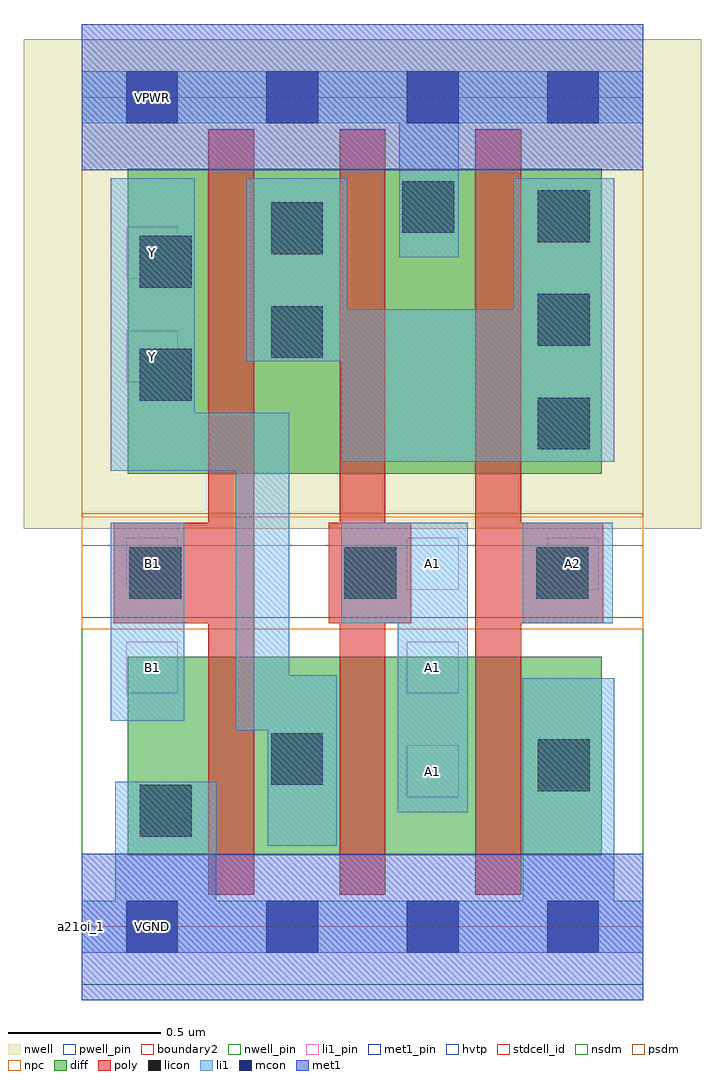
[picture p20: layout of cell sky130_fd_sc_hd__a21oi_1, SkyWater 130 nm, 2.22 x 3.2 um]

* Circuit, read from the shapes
.subckt sky130_fd_sc_hd__a21oi_1 A1 A2 B1 VGND VNB VPB VPWR Y
XM1 Y B1 VGND VNB sky130_fd_pr__nfet_01v8 w=0.65 l=0.15
XM2 n1 A1 Y VNB sky130_fd_pr__nfet_01v8 w=0.65 l=0.15
XM3 VGND A2 n1 VNB sky130_fd_pr__nfet_01v8 w=0.65 l=0.15
XM4 n2 B1 Y VPB sky130_fd_pr__pfet_01v8_hvt w=1 l=0.15
XM5 VPWR A1 n2 VPB sky130_fd_pr__pfet_01v8_hvt w=1 l=0.15
XM6 n2 A2 VPWR VPB sky130_fd_pr__pfet_01v8_hvt w=1 l=0.15
.ends

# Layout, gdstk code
import gdstk
lib = gdstk.Library(unit=1e-6, precision=1e-09)
def R(c, l, rs):  # rectangles x0, y0, x1, y1
    for r in rs: c.add(gdstk.rectangle(r[:2], r[2:], *l))
def A(c, l, x, y, w, h, nx, ny, dx, dy):  # array of equal rectangles
    R(c, l, [(x+i*dx, y+j*dy, x+i*dx+w, y+j*dy+h) for i in range(nx) for j in range(ny)])
def P(c, l, *ps):  # polygons
    for p in ps: c.add(gdstk.Polygon(p, *l))
nwell_pin = (64, 16)
nwell = (64, 20)
diff = (65, 20)
poly = (66, 20)
licon = (66, 44)
li1_pin = (67, 16)
li1 = (67, 20)
mcon = (67, 44)
met1_pin = (68, 16)
met1 = (68, 20)
hvtp = (78, 44)
stdcell_id = (81, 4)
nsdm = (93, 44)
psdm = (94, 20)
npc = (95, 20)
pwell_pin = (122, 16)
boundary2 = (236, 0)

sky130_fd_sc_hd__a21oi_1 = lib.new_cell('sky130_fd_sc_hd__a21oi_1')
R(sky130_fd_sc_hd__a21oi_1, nwell_pin, [(0.145,2.635,0.315,2.805)])
R(sky130_fd_sc_hd__a21oi_1, nwell, [(-0.19,1.305,2.03,2.91)])
R(sky130_fd_sc_hd__a21oi_1, diff, [(0.15,0.235,1.705,0.885), (0.15,1.485,1.705,2.485)])
P(sky130_fd_sc_hd__a21oi_1, poly, [(0.565,2.615),(0.415,2.615),(0.415,1.325),(0.105,1.325),(0.105,0.995),(0.415,0.995),(0.415,0.105),(0.565,0.105)],
  [(1.08,1.325),(0.995,1.325),(0.995,2.615),(0.845,2.615),(0.845,1.325),(0.81,1.325),(0.81,0.995),(0.845,0.995),(0.845,0.105),(0.995,0.105),(0.995,0.995),(1.08,0.995)],
  [(1.71,1.325),(1.44,1.325),(1.44,2.615),(1.29,2.615),(1.29,0.105),(1.44,0.105),(1.44,0.995),(1.71,0.995)])
A(sky130_fd_sc_hd__a21oi_1, licon, 1.495, 1.565, 0.17, 0.17, 1, 3, 0, 0.34)
R(sky130_fd_sc_hd__a21oi_1, licon, [(0.19,0.295,0.36,0.465), (1.495,0.445,1.665,0.615), (0.62,0.465,0.79,0.635), (0.155,1.075,0.325,1.245), (0.86,1.075,1.03,1.245), (1.49,1.075,1.66,1.245), (0.19,1.725,0.36,1.895), (0.62,1.865,0.79,2.035), (0.19,2.095,0.36,2.265), (0.62,2.205,0.79,2.375), (1.05,2.275,1.22,2.445)])
A(sky130_fd_sc_hd__a21oi_1, li1_pin, 1.065, 0.425, 0.17, 0.17, 1, 3, 0, 0.34)
R(sky130_fd_sc_hd__a21oi_1, li1_pin, [(0.145,0.765,0.315,0.935), (0.145,1.105,0.315,1.275), (1.525,1.105,1.695,1.275), (0.145,1.785,0.315,1.955), (0.145,2.125,0.315,2.295)])
R(sky130_fd_sc_hd__a21oi_1, li1, [(0.095,0.675,0.335,1.325), (1.445,0.995,1.74,1.325)])
P(sky130_fd_sc_hd__a21oi_1, li1, [(1.84,2.805),(0,2.805),(0,2.635),(1.04,2.635),(1.04,2.195),(1.235,2.195),(1.235,2.635),(1.84,2.635)],
  [(1.84,0.085),(1.745,0.085),(1.745,0.815),(1.445,0.815),(1.445,0.085),(0.44,0.085),(0.44,0.475),(0.11,0.475),(0.11,0.085),(0,0.085),(0,-0.085),(1.84,-0.085)],
  [(1.265,1.325),(0.85,1.325),(0.85,0.995),(1.035,0.995),(1.035,0.375),(1.265,0.375)],
  [(1.745,2.455),(1.415,2.455),(1.415,2.025),(0.87,2.025),(0.87,2.455),(0.54,2.455),(0.54,1.855),(0.85,1.855),(0.85,1.525),(1.745,1.525)],
  [(0.835,0.825),(0.68,0.825),(0.68,1.685),(0.37,1.685),(0.37,2.455),(0.095,2.455),(0.095,1.495),(0.505,1.495),(0.505,0.645),(0.61,0.645),(0.61,0.265),(0.835,0.265)])
A(sky130_fd_sc_hd__a21oi_1, mcon, 0.145, -0.085, 0.17, 0.17, 4, 2, 0.46, 2.72)
R(sky130_fd_sc_hd__a21oi_1, met1_pin, [(0.145,-0.085,0.315,0.085), (0.145,2.635,0.315,2.805)])
R(sky130_fd_sc_hd__a21oi_1, hvtp, [(0,1.25,1.84,2.72)])
R(sky130_fd_sc_hd__a21oi_1, stdcell_id, [(0,0,1.84,2.72)])
R(sky130_fd_sc_hd__a21oi_1, nsdm, [(0,-0.19,1.84,1.015)])
R(sky130_fd_sc_hd__a21oi_1, psdm, [(0,1.355,1.84,2.91)])
R(sky130_fd_sc_hd__a21oi_1, npc, [(0,0.975,1.84,1.345)])
R(sky130_fd_sc_hd__a21oi_1, pwell_pin, [(0.145,-0.085,0.315,0.085)])
R(sky130_fd_sc_hd__a21oi_1, boundary2, [(0,0,1.84,2.72)])
sky130_fd_sc_hd__a21oi_1.add(gdstk.FlexPath([(0,0),(1.84,0)], 0.48, ends="flush", simple_path=True, layer=68, datatype=20))  # met1
sky130_fd_sc_hd__a21oi_1.add(gdstk.FlexPath([(0,2.72),(1.84,2.72)], 0.48, ends="flush", simple_path=True, layer=68, datatype=20))  # met1
sky130_fd_sc_hd__a21oi_1.add(gdstk.Label('A1', (1.15,1.19), layer=67, texttype=5))
sky130_fd_sc_hd__a21oi_1.add(gdstk.Label('B1', (0.23,0.85), layer=67, texttype=5))
sky130_fd_sc_hd__a21oi_1.add(gdstk.Label('A1', (1.15,0.85), layer=67, texttype=5))
sky130_fd_sc_hd__a21oi_1.add(gdstk.Label('A1', (1.15,0.51), layer=67, texttype=5))
sky130_fd_sc_hd__a21oi_1.add(gdstk.Label('Y', (0.23,2.21), layer=67, texttype=5))
sky130_fd_sc_hd__a21oi_1.add(gdstk.Label('B1', (0.23,1.19), layer=67, texttype=5))
sky130_fd_sc_hd__a21oi_1.add(gdstk.Label('Y', (0.23,1.87), layer=67, texttype=5))
sky130_fd_sc_hd__a21oi_1.add(gdstk.Label('A2', (1.61,1.19), layer=67, texttype=5))
sky130_fd_sc_hd__a21oi_1.add(gdstk.Label('VPWR', (0.23,2.72), layer=68, texttype=5))
sky130_fd_sc_hd__a21oi_1.add(gdstk.Label('VGND', (0.23,0), layer=68, texttype=5))
sky130_fd_sc_hd__a21oi_1.add(gdstk.Label('VPB', (0.23,2.72), layer=64, texttype=5))
sky130_fd_sc_hd__a21oi_1.add(gdstk.Label('VNB', (0.23,0), layer=64, texttype=59))
sky130_fd_sc_hd__a21oi_1.add(gdstk.Label('a21oi_1', (0,0), layer=83, texttype=44))

lib.write_gds('sky130_fd_sc_hd__a21oi_1.gds')
